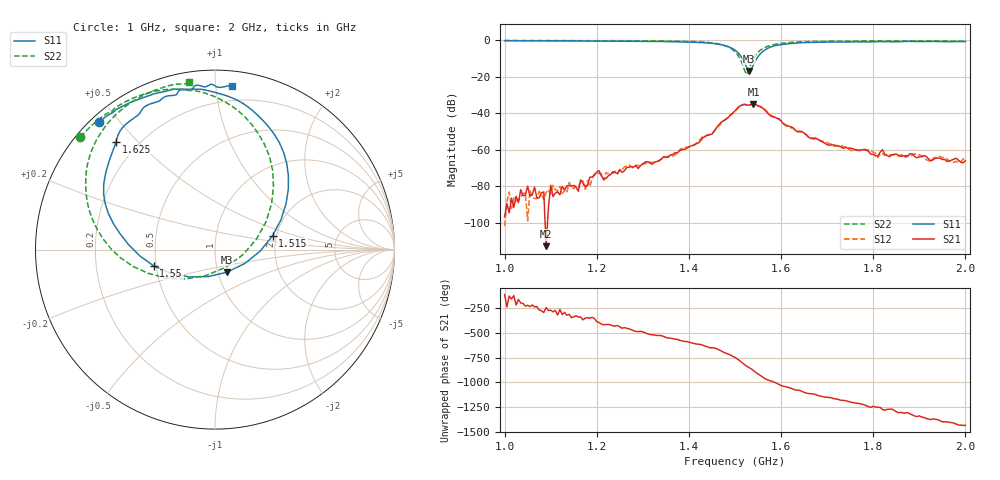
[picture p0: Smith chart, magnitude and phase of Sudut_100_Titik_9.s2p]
# Hz S RI R 50
! CMT, C1220, 16058040, 17.2.0/1
! Date: 14/08/2018 11:55:39
! Data: Format (Calibration Info)
! Freq  S11: Re/Im (F2)  S21: Re/Im (F2)  S12: Re/Im (F2)  S22: Re/Im (F2)
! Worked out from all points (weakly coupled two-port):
!   201 points, 1 GHz to 2 GHz, reference 50 ohm
!   highest |S21| = -35.08 dB at 1.54 GHz (marker M1); lowest = -112.9 dB at 1.09 GHz (marker M2)
!   lowest |S11| = -16.9 dB at 1.53 GHz (marker M3), VSWR 1.33, Z = 55.5 - j14.2 ohm
!   |S11| at or under -10 dB: 1.516 GHz to 1.548 GHz (31.84 MHz wide, 2.08 % of centre)
!   |S22| runs from -18.8 to -0.2 dB; largest |S21 - S12| = 0.00075
!   S11 on the Smith chart (normalised r, x): 1 GHz: 0.03, +0.44; 1.515 GHz: 1.91, +0.33; 1.55 GHz: 0.48, -0.10; 1.625 GHz: 0.12, +0.43; 2 GHz: 0.10, +1.10
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1e9  -0.6435 0.711  -5.53e-06 -1.33e-05  4.7e-06 -6.52e-06  -0.75 0.6271
1.09e9  -0.5568 0.775  -1.01e-06 2.03e-06  -9.35e-07 6.5e-05  -0.6844 0.694
1.17e9  -0.4716 0.8202  0.000119 -1.94e-05  0.000139 7.16e-06  -0.6124 0.7522
1.18e9  -0.4549 0.827  0.000102 2.49e-05  0.00014 -1.78e-06  -0.6009 0.7585
1.185e9  -0.4467 0.8302  0.000174 2.47e-05  9.7e-05 1.38e-05  -0.595 0.7617
1.195e9  -0.4333 0.8351  0.000198 1.81e-05  0.000219 1.96e-05  -0.5827 0.7654
1.205e9  -0.425 0.8375  0.000218 -0.000149  0.000186 -0.000121  -0.5759 0.7663
1.215e9  -0.416 0.8407  8.17e-05 -0.000133  0.000104 -0.000102  -0.5714 0.7738
1.22e9  -0.4095 0.8429  9.11e-05 -0.000133  0.000121 -0.0002  -0.5671 0.779
1.335e9  -0.2141 0.8933  -0.000483 -0.000129  -0.000479 -7.75e-05  -0.3957 0.8661
1.45e9  0.1825 0.796  0.000925 0.0025  0.00115 0.00244  0.0275 0.8384
1.5e9  0.4086 0.338  0.0102 -0.00535  0.00957 -0.00503  0.3257 0.3524
1.515e9  0.3206 0.077  0.00299 -0.0163  0.00342 -0.0164  0.2307 0.0578
1.525e9  0.1677 -0.0763  -0.00732 -0.015  -0.00726 -0.0152  0.058 -0.0991
1.53e9  0.0688 -0.1251  -0.0104 -0.0129  -0.0105 -0.013  -0.0505 -0.1445
1.54e9  -0.1433 -0.1525  -0.0165 -0.00607  -0.0165 -0.00605  -0.2736 -0.1584
1.55e9  -0.3411 -0.0909  -0.0151 0.0043  -0.0153 0.00375  -0.4554 -0.0945
1.58e9  -0.612 0.2566  -0.000195 0.00808  9.45e-05 0.00834  -0.7001 0.2168
1.625e9  -0.5523 0.598  0.00396 0.000953  0.00372 0.00101  -0.6975 0.522
1.67e9  -0.4401 0.7409  0.00155 -0.00119  0.00163 -0.00132  -0.6204 0.674
1.835e9  -0.1446 0.886  -0.000622 0.000129  -0.000712 0.00012  -0.3701 0.8733
2e9  0.094 0.9112  0.000498 3.78e-05  0.000577 -4.93e-05  -0.1467 0.9311
